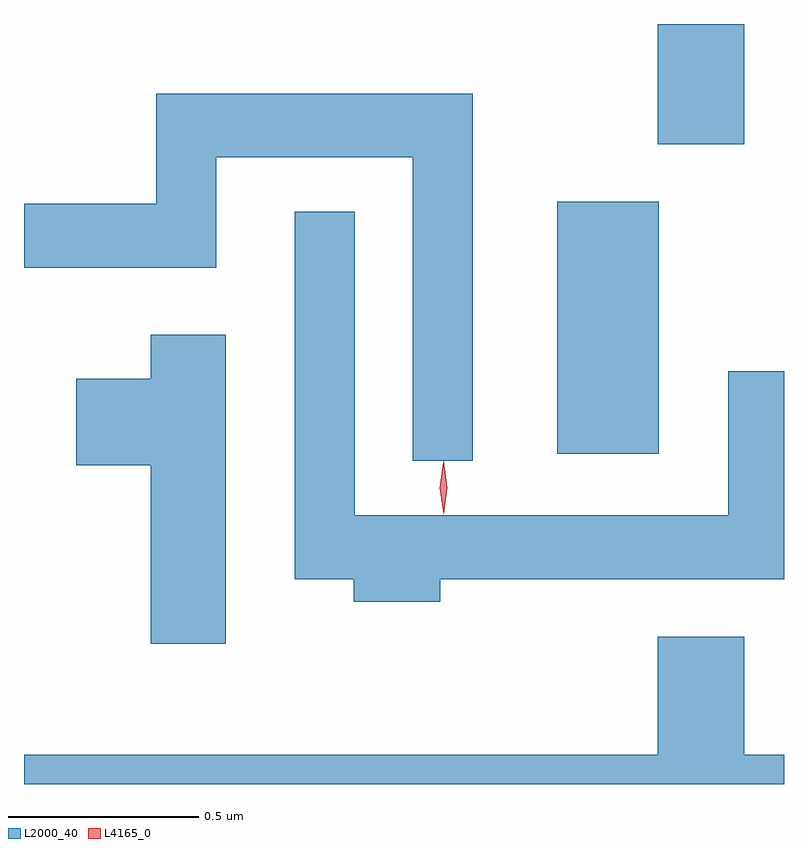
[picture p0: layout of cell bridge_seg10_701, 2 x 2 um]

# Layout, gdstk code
import gdstk
lib = gdstk.Library(unit=1e-6, precision=1e-09)
def R(c, l, rs):  # rectangles x0, y0, x1, y1
    for r in rs: c.add(gdstk.rectangle(r[:2], r[2:], *l))
def P(c, l, *ps):  # polygons
    for p in ps: c.add(gdstk.Polygon(p, *l))
L2000_40 = (2000, 40)
L4165_0 = (4165, 0)

bridge_seg10_701 = lib.new_cell('bridge_seg10_701')
R(bridge_seg10_701, L2000_40, [(1017.416,2117.196,1017.684,2117.859), (1017.681,2118.011,1017.909,2118.327)])
P(bridge_seg10_701, L2000_40, [(1017.194,2118.144),(1016.361,2118.144),(1016.361,2117.854),(1016.013,2117.854),(1016.013,2117.686),(1016.519,2117.686),(1016.519,2117.976),(1017.036,2117.976),(1017.036,2117.178),(1017.194,2117.178)],
  [(1017.109,2116.866),(1018.013,2116.866),(1018.013,2117.413),(1017.866,2117.413),(1017.866,2117.034),(1016.884,2117.034),(1016.884,2117.833),(1016.726,2117.833),(1016.726,2116.866),(1016.881,2116.866),(1016.881,2116.806),(1017.109,2116.806)],
  [(1016.544,2117.509),(1016.346,2117.509),(1016.346,2117.394),(1016.151,2117.394),(1016.151,2117.166),(1016.346,2117.166),(1016.346,2116.696),(1016.544,2116.696)],
  [(1018.013,2116.404),(1017.909,2116.404),(1017.909,2116.714),(1017.681,2116.714),(1017.681,2116.404),(1016.013,2116.404),(1016.013,2116.327),(1018.013,2116.327)])
P(bridge_seg10_701, L4165_0, [(1017.117,2117.039),(1017.117,2117.04),(1017.107,2117.106),(1017.116,2117.172),(1017.117,2117.173),(1017.118,2117.172),(1017.127,2117.106),(1017.118,2117.04)],
  [(1017.117,2117.037),(1017.117,2117.037),(1017.107,2117.107),(1017.117,2117.176),(1017.117,2117.176),(1017.118,2117.176),(1017.127,2117.107),(1017.118,2117.037)])

lib.write_gds('bridge_seg10_701.gds')
